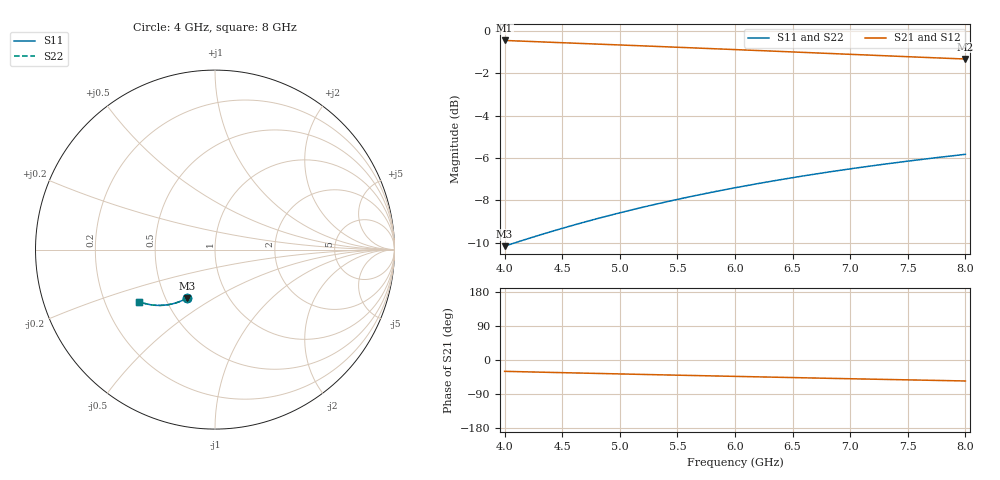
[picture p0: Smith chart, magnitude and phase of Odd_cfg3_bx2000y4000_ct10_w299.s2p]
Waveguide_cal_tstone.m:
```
clear; %clc;

abcd = abcdparameters('Odd_cfg3_bx2000y4000_ct10_w299.s2p');
d = 2000;    %micron

A_para =  rfparam(abcd,'A');
B_para =  rfparam(abcd,'B');
D_para =  rfparam(abcd,'D');

beta = acos((A_para+D_para)./2)./d;
Z = abs(B_para./(sqrt((A_para).^2-1)));

% figure; 
% plot(abcd.Frequencies./1e9,real(beta));    %imag of beta is small
% xlabel('Frequency (GHz)');ylabel('\beta (/um)');
% figure; 
% plot(abcd.Frequencies./1e9, Z);
% xlabel('Frequency (GHz)');ylabel('Z (\Omega)');
```
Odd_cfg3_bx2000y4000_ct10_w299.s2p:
! Sonnet Data File
! From: emgraph Version : 16.52
! From Emgraph Data: Waveguide2
! Data File Written: 09/24/2017 12:53:04
!< HDATE 09/24/2017 12:38:44
!< MDATE 09/24/2017 12:39:05
!< PARAMS
!< hWid = 5.0
!< gap = 6.0
!< Pwid = 299.0
!< END PARAMS
# GHZ S MA R 50.00000
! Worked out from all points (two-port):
!   201 points, 4 GHz to 8 GHz, reference 50 ohm
!   highest |S21| = -0.44 dB at 4 GHz (marker M1); lowest = -1.3 dB at 8 GHz (marker M2)
!   |S21| within 3 dB of the highest: start of sweep to end of sweep
!   lowest |S11| = -10.2 dB at 4 GHz (marker M3), VSWR 1.90, Z = 32.2 - j19.1 ohm
!   |S11| at or under -10 dB: start of sweep to 4.094 GHz
!   |S22| runs from -10.2 to -5.8 dB; largest |S21 - S12| = 0
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4  0.3102 -119.9  0.9507 -29.9  0.9507 -29.9  0.3102 -119.9
!< P1 F=4.0 Eeff=(6.38581787 -2.9305e-5) Z0=(24.1500619 5.54163e-5) R=0.00106977 C=0.17234699
!< P2 F=4.0 Eeff=(6.38581787 -2.9305e-5) Z0=(24.1500619 5.54163e-5) R=0.00106977 C=0.17234699
4.48  0.3406 -123.2  0.9394 -33.3  0.9394 -33.3  0.3406 -123.2
4.96  0.3697 -126.4  0.9285 -36.5  0.9285 -36.5  0.3697 -126.4
5.26  0.3869 -128.5  0.9217 -38.5  0.9217 -38.5  0.3869 -128.5
5.56  0.4034 -130.4  0.9149 -40.5  0.9149 -40.5  0.4034 -130.4
6  0.4263 -133.3  0.9047 -43.3  0.9047 -43.3  0.4263 -133.3
6.42  0.4467 -135.9  0.8948 -45.9  0.8948 -45.9  0.4467 -135.9
6.88  0.4674 -138.7  0.884 -48.8  0.884 -48.8  0.4674 -138.7
7.38  0.4881 -141.7  0.8727 -51.8  0.8727 -51.8  0.4881 -141.7
7.86  0.5064 -144.5  0.8623 -54.5  0.8623 -54.5  0.5064 -144.5
8  0.5115 -145.4  0.8593 -55.4  0.8593 -55.4  0.5115 -145.4
